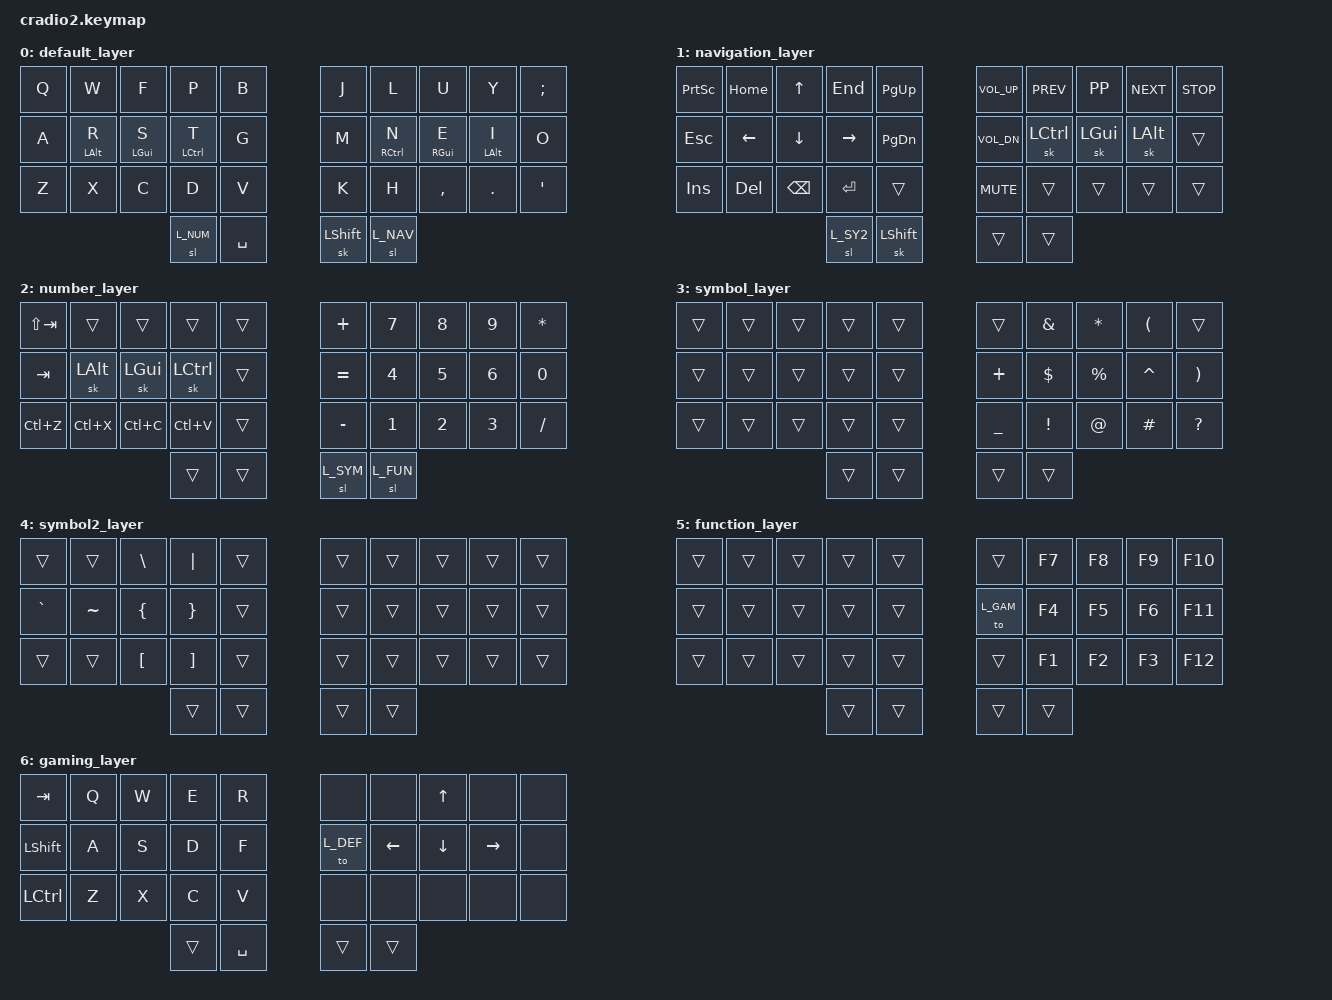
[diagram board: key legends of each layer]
/*
 * Copyright (c) 2020 The ZMK Contributors
 *
 * SPDX-License-Identifier: MIT
 */

#include <behaviors.dtsi>
#include <dt-bindings/zmk/bt.h>
#include <dt-bindings/zmk/keys.h>

// GENERAL KEYS
#define GEN_NONE &none
#define GEN_TRAN &trans

// DEFAULT LAYER

#define L_DEF 0

#define DEF_Q    &kp Q
#define DEF_W    &kp W
#define DEF_F    &kp F
#define DEF_P    &kp P
#define DEF_B    &kp B
                        
#define DEF_A    &kp A 
#define DEF_R    &mt LALT R 
#define DEF_S    &mt LGUI S
#define DEF_T    &mt LCTRL T 
#define DEF_G    &kp G
        
#define DEF_Z    &kp Z
#define DEF_X    &kp X
#define DEF_C    &kp C
#define DEF_D    &kp D
#define DEF_V    &kp V
                        

#define DEF_J    &kp J
#define DEF_L    &kp L
#define DEF_U    &kp U
#define DEF_Y    &kp Y
#define DEF_SEMI &kp SEMI

#define DEF_K    &kp K
#define DEF_H    &kp H
#define DEF_COMA &kp COMMA
#define DEF_DOT  &kp DOT
#define DEF_QUOT &kp SQT

#define DEF_M    &kp M
#define DEF_N    &mt RCTL N
#define DEF_E    &mt RGUI E
#define DEF_I    &mt LALT I 
#define DEF_O    &kp O

#define DEF_NAV  &sl L_NAV
#define DEF_SPC  &kp SPC
#define DEF_SHFT &sk LSHIFT

#define GEN_SHFT &sk LSHIFT
// NAVIGATION LAYER
#define L_NAV 1

#define NAV_SYM  &sl L_SYM
#define NAV_NUM  &sl L_NUM
#define NAV_FUN  &sl L_FUN

#define MED_PRNT &kp PSCRN
#define NAV_HOME &kp HOME
#define NAV_UP   &kp UP
#define NAV_END  &kp END
#define NAV_PGUP &kp PG_UP

#define NAV_ESC  &kp ESC
#define NAV_LEFT &kp LEFT
#define NAV_DOWN &kp DOWN
#define NAV_RGHT &kp RIGHT
#define NAV_PGDN &kp PG_DN

#define NAV_INS  &kp INSERT
#define NAV_DEL  &kp DEL
#define NAV_BSPC &kp BSPC
#define NAV_RET  &kp RET

#define MED_VOLU &kp C_VOL_UP
#define MED_PREV &kp C_PREV
#define MED_PLAY &kp K_PP
#define MED_NEXT &kp C_NEXT
#define MED_STOP &kp C_STOP

#define MED_VOLD &kp C_VOL_DN
#define NAV_LCTL &sk LCTL
#define NAV_LGUI &sk LGUI
#define NAV_LALT &sk LALT

#define MED_MUTE &kp C_MUTE

#define NAV_SY2  &sl L_SY2

#define MED_BRID &kp C_BRI_DN
#define MED_BRIU &kp C_BRI_UP

// NUMBER LAYER
#define L_NUM 2

#define NAV_STAB &kp LS(TAB)

#define NUM_UNDO &kp LC(Z)
#define NUM_CUT  &kp LC(X)
#define NUM_COPY &kp LC(C)
#define NAV_TAB  &kp TAB
#define NUM_PST  &kp LC(V)

#define NUM_PLUS &kp PLUS
#define NUM_N7   &kp N7 
#define NUM_N8   &kp N8
#define NUM_N9   &kp N9
#define NUM_AST  &kp ASTERISK 

#define NUM_EQUL &kp EQUAL
#define NUM_N4   &kp N4
#define NUM_N5   &kp N5
#define NUM_N6   &kp N6
#define NUM_N0   &kp N0

#define NUM_MIN  &kp MINUS
#define NUM_N1   &kp N1
#define NUM_N2   &kp N2
#define NUM_N3   &kp N3
#define NUM_FSLH &kp FSLH

// SYMBOL LAYER

#define L_SYM 3

#define SYM_AND  &kp AMPERSAND
#define SYM_AST  &kp ASTERISK
#define SYM_LPAR &kp LPAR

#define SYM_PLUS &kp PLUS
#define SYM_DOLR &kp DOLLAR
#define SYM_PER  &kp PERCENT
#define SYM_CAR  &kp CARET
#define SYM_RPAR &kp RPAR

#define SYM_UNDR &kp UNDER
#define SYM_EXCL &kp EXCLAMATION
#define SYM_AT   &kp AT
#define SYM_HASH &kp HASH
#define SYM_QUES &kp QUESTION


// SYMBOLS 2 LAYER
#define L_SY2 4

#define SYM_BSLH &kp BSLH
#define SYM_PIPE &kp PIPE

#define SYM_LBRC &kp LBRC
#define SYM_RBRC &kp RBRC
#define SYM_LBKT &kp LBKT
#define SYM_RBKT &kp RBKT

#define SYM_GRV  &kp GRAVE
#define SYM_TLDE &kp TILDE

// FUNCTION LAYER
#define L_FUN 5
#define FUN_F7   &kp F7
#define FUN_F8   &kp F8
#define FUN_F9   &kp F9
#define FUN_F10  &kp F10

#define FUN_GAME &to L_GAM
#define FUN_F4   &kp F4
#define FUN_F5   &kp F5
#define FUN_F6   &kp F6
#define FUN_F11  &kp F11

#define FUN_BOOT &bootloader
#define FUN_F1   &kp F1
#define FUN_F2   &kp F2
#define FUN_F3   &kp F3
#define FUN_F13  &kp F12

// GAMING LAYER
#define L_GAM 6

#define GAM_TAB  &kp TAB
#define GAM_Q    &kp Q
#define GAM_W    &kp W
#define GAM_E    &kp E
#define GAM_R    &kp R

#define GAM_LSFT &kp LSHIFT
#define GAM_A    &kp A
#define GAM_S    &kp S
#define GAM_D    &kp D
#define GAM_F    &kp F

#define GAM_LCTL &kp LCTRL
#define GAM_Z    &kp Z
#define GAM_X    &kp X
#define GAM_C    &kp C
#define GAM_V    &kp V

#define GAM_UP   &kp UP

#define GAM_DEF  &to L_DEF
#define GAM_LEFT &kp LEFT
#define GAM_DOWN &kp DOWN
#define GAM_RGHT &kp RIGHT

#define GAM_ESC  &kp ESC
#define GAM_SPC  &kp SPACE


&sk {
    release-after-ms = <1000>;
    quick-release;
};
&sl {
    release-after-ms = <1000>;
};
&mt {
  flavor = "tap-preferred";
  tapping_term_ms = <200>;
};
/ {
  combos {
    compatible = "zmk,combos";

    combo_bootloader {
      timeout-ms = <50>;
      key-positions = <0 20>;
      bindings = <&bootloader>;
    };

    combo_btclr {
      timeout-ms = <50>;
      key-positions = <2 22>;
      bindings = <&bt BT_CLR>;
    };
  };

  keymap {
    compatible = "zmk,keymap";

    default_layer {
      bindings = <
        DEF_Q    DEF_W    DEF_F    DEF_P    DEF_B          DEF_J    DEF_L    DEF_U    DEF_Y    DEF_SEMI
        DEF_A    DEF_R    DEF_S    DEF_T    DEF_G          DEF_M    DEF_N    DEF_E    DEF_I    DEF_O
        DEF_Z    DEF_X    DEF_C    DEF_D    DEF_V          DEF_K    DEF_H    DEF_COMA DEF_DOT  DEF_QUOT
                                   NAV_NUM  DEF_SPC        GEN_SHFT DEF_NAV
      >;
    };

    navigation_layer {
      bindings = <
        MED_PRNT NAV_HOME NAV_UP   NAV_END  NAV_PGUP       MED_VOLU MED_PREV MED_PLAY MED_NEXT MED_STOP
        NAV_ESC  NAV_LEFT NAV_DOWN NAV_RGHT NAV_PGDN       MED_VOLD NAV_LCTL NAV_LGUI NAV_LALT GEN_TRAN
        NAV_INS  NAV_DEL  NAV_BSPC NAV_RET  GEN_TRAN       MED_MUTE GEN_TRAN GEN_TRAN GEN_TRAN GEN_TRAN
                                   NAV_SY2  GEN_SHFT       GEN_TRAN GEN_TRAN
      >;
    };

    number_layer {
      bindings = <
        NAV_STAB GEN_TRAN GEN_TRAN GEN_TRAN GEN_TRAN       NUM_PLUS NUM_N7   NUM_N8   NUM_N9   NUM_AST
        NAV_TAB  NAV_LALT NAV_LGUI NAV_LCTL GEN_TRAN       NUM_EQUL NUM_N4   NUM_N5   NUM_N6   NUM_N0
        NUM_UNDO NUM_CUT  NUM_COPY NUM_PST  GEN_TRAN       NUM_MIN  NUM_N1   NUM_N2   NUM_N3   NUM_FSLH
                                   GEN_TRAN GEN_TRAN       NAV_SYM  NAV_FUN 
      >;
    };

    symbol_layer {
      bindings = <
        GEN_TRAN GEN_TRAN GEN_TRAN GEN_TRAN GEN_TRAN       GEN_TRAN SYM_AND  SYM_AST SYM_LPAR GEN_TRAN
        GEN_TRAN GEN_TRAN GEN_TRAN GEN_TRAN GEN_TRAN       SYM_PLUS SYM_DOLR SYM_PER SYM_CAR  SYM_RPAR
        GEN_TRAN GEN_TRAN GEN_TRAN GEN_TRAN GEN_TRAN       SYM_UNDR SYM_EXCL SYM_AT  SYM_HASH SYM_QUES
                                   GEN_TRAN GEN_TRAN       GEN_TRAN GEN_TRAN
      >;
    };
    symbol2_layer {
      bindings = <
        GEN_TRAN GEN_TRAN SYM_BSLH SYM_PIPE GEN_TRAN       GEN_TRAN GEN_TRAN GEN_TRAN GEN_TRAN GEN_TRAN
        SYM_GRV  SYM_TLDE SYM_LBRC SYM_RBRC GEN_TRAN       GEN_TRAN GEN_TRAN GEN_TRAN GEN_TRAN GEN_TRAN
        GEN_TRAN GEN_TRAN SYM_LBKT SYM_RBKT GEN_TRAN       GEN_TRAN GEN_TRAN GEN_TRAN GEN_TRAN GEN_TRAN
                                   GEN_TRAN GEN_TRAN       GEN_TRAN GEN_TRAN
      >;
    };
    function_layer {
      bindings = <
        GEN_TRAN GEN_TRAN GEN_TRAN GEN_TRAN GEN_TRAN       GEN_TRAN FUN_F7   FUN_F8   FUN_F9   FUN_F10
        GEN_TRAN GEN_TRAN GEN_TRAN GEN_TRAN GEN_TRAN       FUN_GAME FUN_F4   FUN_F5   FUN_F6   FUN_F11
        GEN_TRAN GEN_TRAN GEN_TRAN GEN_TRAN GEN_TRAN       GEN_TRAN FUN_F1   FUN_F2   FUN_F3   FUN_F13
                                   GEN_TRAN GEN_TRAN       GEN_TRAN GEN_TRAN
      >;
    };
    gaming_layer {
      bindings = <
        GAM_TAB  GAM_Q    GAM_W    GAM_E    GAM_R          GEN_NONE GEN_NONE GAM_UP   GEN_NONE GEN_NONE
        GAM_LSFT GAM_A    GAM_S    GAM_D    GAM_F          GAM_DEF  GAM_LEFT GAM_DOWN GAM_RGHT GEN_NONE
        GAM_LCTL GAM_Z    GAM_X    GAM_C    GAM_V          GEN_NONE GEN_NONE GEN_NONE GEN_NONE GEN_NONE
                                   GEN_TRAN GAM_SPC        GEN_TRAN GEN_TRAN
      >;
    };

    // empty_layer {
    //   bindings = <
    //     GEN_TRAN GEN_TRAN GEN_TRAN GEN_TRAN GEN_TRAN       GEN_TRAN GEN_TRAN GEN_TRAN GEN_TRAN GEN_TRAN
    //     GEN_TRAN GEN_TRAN GEN_TRAN GEN_TRAN GEN_TRAN       GEN_TRAN GEN_TRAN GEN_TRAN GEN_TRAN GEN_TRAN
    //     GEN_TRAN GEN_TRAN GEN_TRAN GEN_TRAN GEN_TRAN       GEN_TRAN GEN_TRAN GEN_TRAN GEN_TRAN GEN_TRAN
    //                                GEN_TRAN GEN_TRAN       GEN_TRAN GEN_TRAN
    //   >;
    // };

  };
};
